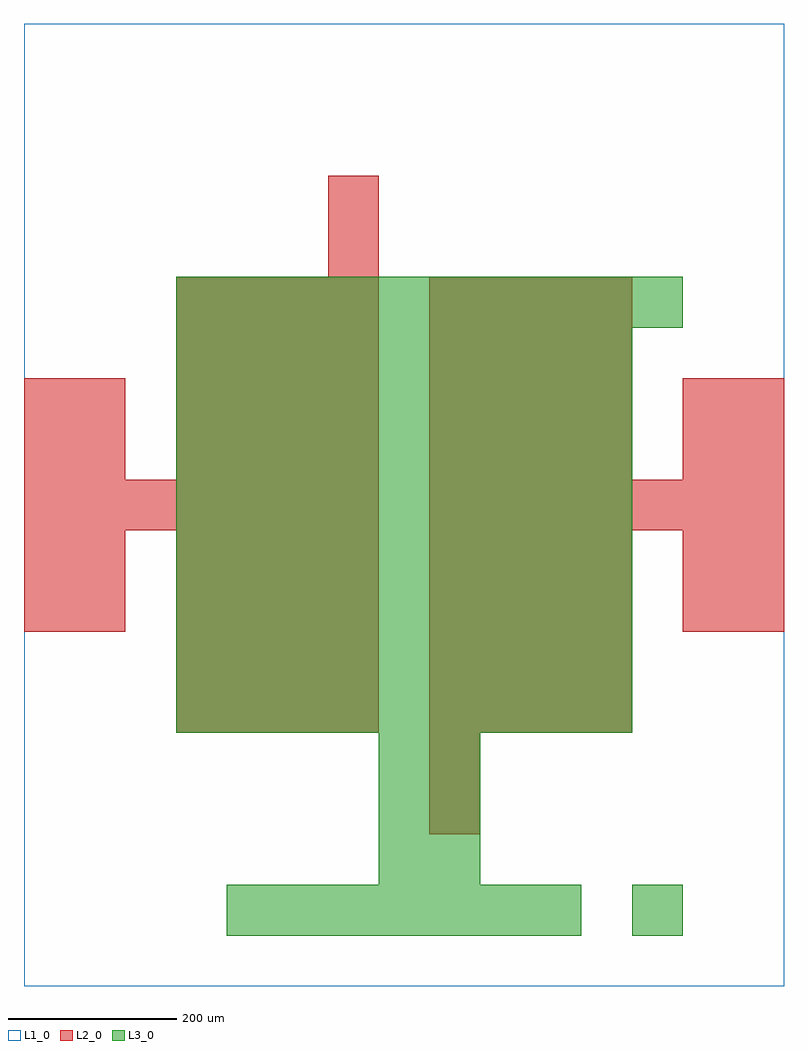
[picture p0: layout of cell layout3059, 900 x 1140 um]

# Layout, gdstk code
import gdstk
lib = gdstk.Library(unit=1e-6, precision=1e-09)
def R(c, l, rs):  # rectangles x0, y0, x1, y1
    for r in rs: c.add(gdstk.rectangle(r[:2], r[2:], *l))
def A(c, l, x, y, w, h, nx, ny, dx, dy):  # array of equal rectangles
    R(c, l, [(x+i*dx, y+j*dy, x+i*dx+w, y+j*dy+h) for i in range(nx) for j in range(ny)])
L1_0 = (1, 0)
L2_0 = (2, 0)
L3_0 = (3, 0)

layout3059 = lib.new_cell('layout3059')
R(layout3059, L1_0, [(0,0,900,1140)])
A(layout3059, L2_0, 180, 300, 60, 60, 4, 4, 60, 60)
A(layout3059, L2_0, 480, 300, 60, 60, 4, 4, 60, 60)
A(layout3059, L2_0, 0, 540, 60, 60, 7, 1, 60, 0)
A(layout3059, L2_0, 480, 540, 60, 60, 7, 1, 60, 0)
A(layout3059, L2_0, 180, 600, 60, 60, 4, 4, 60, 60)
A(layout3059, L2_0, 480, 600, 60, 60, 4, 4, 60, 60)
R(layout3059, L2_0, [(480,180,540,240), (480,240,540,300), (0,420,60,480), (60,420,120,480), (780,420,840,480), (840,420,900,480), (0,480,60,540), (60,480,120,540), (780,480,840,540), (840,480,900,540), (0,600,60,660), (60,600,120,660), (780,600,840,660), (840,600,900,660), (0,660,60,720), (60,660,120,720), (780,660,840,720), (840,660,900,720), (360,840,420,900), (360,900,420,960)])
A(layout3059, L3_0, 240, 60, 60, 60, 7, 1, 60, 0)
A(layout3059, L3_0, 420, 120, 60, 60, 1, 3, 0, 60)
A(layout3059, L3_0, 480, 120, 60, 60, 1, 3, 0, 60)
A(layout3059, L3_0, 180, 300, 60, 60, 9, 8, 60, 60)
A(layout3059, L3_0, 180, 780, 60, 60, 10, 1, 60, 0)
R(layout3059, L3_0, [(720,60,780,120)])

lib.write_gds('layout3059.gds')
